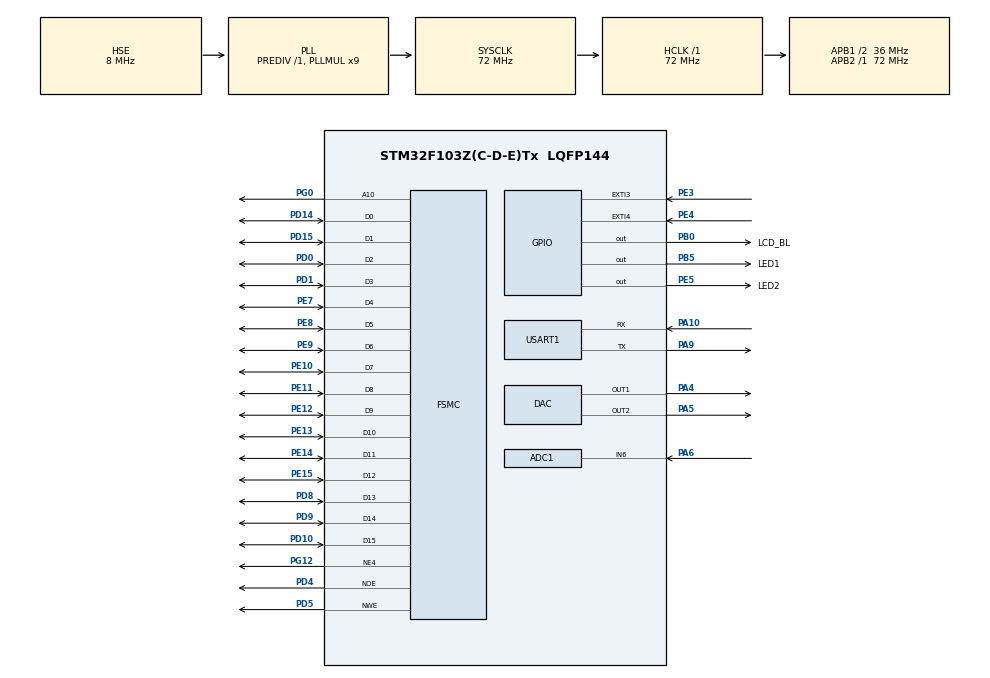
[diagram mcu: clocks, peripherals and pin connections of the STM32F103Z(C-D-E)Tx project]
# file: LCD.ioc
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ADC1.Channel-0\#ChannelRegularConversion=ADC_CHANNEL_6
ADC1.NbrOfConversion=1
ADC1.NbrOfConversionFlag=1
ADC1.Rank-0\#ChannelRegularConversion=1
ADC1.SamplingTime-0\#ChannelRegularConversion=ADC_SAMPLETIME_1CYCLE_5
ADC1.master=1
DAC.DAC_OutputBuffer=DAC_OUTPUTBUFFER_DISABLE
DAC.DAC_OutputBuffer2=DAC_OUTPUTBUFFER_DISABLE
Dma.ADC1.0.Direction=DMA_PERIPH_TO_MEMORY
Dma.ADC1.0.Instance=DMA1_Channel1
Dma.ADC1.0.MemDataAlignment=DMA_MDATAALIGN_HALFWORD
Dma.ADC1.0.MemInc=DMA_MINC_ENABLE
Dma.ADC1.0.Mode=DMA_CIRCULAR
Dma.ADC1.0.PeriphDataAlignment=DMA_PDATAALIGN_HALFWORD
Dma.ADC1.0.PeriphInc=DMA_PINC_DISABLE
Dma.ADC1.0.Priority=DMA_PRIORITY_MEDIUM
Dma.Request0=ADC1
FSMC.AddressSetupTime1=0
FSMC.BusTurnAroundDuration1=0
FSMC.DataSetupTime1=26
FSMC.ExtendedAddressSetupTime1=0
FSMC.ExtendedBusTurnAroundDuration1=0
FSMC.ExtendedDataSetupTime1=1
FSMC.ExtendedMode1=FSMC_EXTENDED_MODE_ENABLE
Mcu.Family=STM32F1
Mcu.Name=STM32F103Z(C-D-E)Tx
Mcu.Package=LQFP144
NVIC.DMA1_Channel1_IRQn=true\:0\:0\:false\:false\:true\:false\:true
NVIC.EXTI3_IRQn=true\:0\:0\:false\:false\:true\:true\:true
NVIC.EXTI4_IRQn=true\:0\:0\:false\:false\:true\:true\:true
NVIC.PriorityGroup=NVIC_PRIORITYGROUP_4
NVIC.TIM1_UP_IRQn=true\:15\:0\:false\:false\:true\:false\:true
NVIC.TimeBase=TIM1_UP_IRQn
NVIC.TimeBaseIP=TIM1
NVIC.USART1_IRQn=true\:0\:0\:false\:false\:true\:true\:true
OSC_IN.Mode=HSE-External-Oscillator
OSC_IN.Signal=RCC_OSC_IN
OSC_OUT.Mode=HSE-External-Oscillator
OSC_OUT.Signal=RCC_OSC_OUT
PA10.Mode=Asynchronous
PA10.Signal=USART1_RX
PA13.Mode=Serial_Wire
PA13.Signal=SYS_JTMS-SWDIO
PA14.Mode=Serial_Wire
PA14.Signal=SYS_JTCK-SWCLK
PA4.Signal=COMP_DAC1_group
PA5.Signal=COMP_DAC2_group
PA6.Signal=ADCx_IN6
PA9.Mode=Asynchronous
PA9.Signal=USART1_TX
PB0.GPIO_Label=LCD_BL
PB0.Signal=GPIO_Output
PB5.GPIO_Label=LED1
PB5.Signal=GPIO_Output
PD0.Signal=FSMC_D2_DA2
PD1.Signal=FSMC_D3_DA3
PD10.Signal=FSMC_D15_DA15
PD14.Signal=FSMC_D0_DA0
PD15.Signal=FSMC_D1_DA1
PD4.Signal=FSMC_NOE
PD5.Signal=FSMC_NWE
PD8.Signal=FSMC_D13_DA13
PD9.Signal=FSMC_D14_DA14
PE10.Signal=FSMC_D7_DA7
PE11.Signal=FSMC_D8_DA8
PE12.Signal=FSMC_D9_DA9
PE13.Signal=FSMC_D10_DA10
PE14.Signal=FSMC_D11_DA11
PE15.Signal=FSMC_D12_DA12
PE3.GPIO_ModeDefaultEXTI=GPIO_MODE_IT_FALLING
PE3.Signal=GPXTI3
PE4.GPIO_ModeDefaultEXTI=GPIO_MODE_IT_FALLING
PE4.Signal=GPXTI4
PE5.GPIO_Label=LED2
PE5.Signal=GPIO_Output
PE7.Signal=FSMC_D4_DA4
PE8.Signal=FSMC_D5_DA5
PE9.Signal=FSMC_D6_DA6
PG0.Signal=FSMC_A10
PG12.Mode=NorPsramChipSelect4_1
PG12.Signal=FSMC_NE4
ProjectManager.HeapSize=0x200
ProjectManager.StackSize=0x400
ProjectManager.TargetToolchain=MDK-ARM V5.32
RCC.ADCPresc=RCC_ADCPCLK2_DIV6
RCC.AHBFreq_Value=72000000
RCC.APB1CLKDivider=RCC_HCLK_DIV2
RCC.APB1Freq_Value=36000000
RCC.APB1TimFreq_Value=72000000
RCC.APB2Freq_Value=72000000
RCC.APB2TimFreq_Value=72000000
RCC.HCLKFreq_Value=72000000
RCC.PLLMUL=RCC_PLL_MUL9
RCC.PLLSourceVirtual=RCC_PLLSOURCE_HSE
RCC.SYSCLKFreq_VALUE=72000000
RCC.SYSCLKSource=RCC_SYSCLKSOURCE_PLLCLK
RCC.USBFreq_Value=72000000
SH.ADCx_IN6.0=ADC1_IN6,IN6
SH.COMP_DAC1_group.0=DAC_OUT1,DAC_OUT1
SH.COMP_DAC2_group.0=DAC_OUT2,DAC_OUT2
SH.FSMC_A10.0=FSMC_A10,A10_1
SH.FSMC_D0_DA0.0=FSMC_D0,16b-d1
SH.FSMC_D10_DA10.0=FSMC_D10,16b-d1
SH.FSMC_D11_DA11.0=FSMC_D11,16b-d1
SH.FSMC_D12_DA12.0=FSMC_D12,16b-d1
SH.FSMC_D13_DA13.0=FSMC_D13,16b-d1
SH.FSMC_D14_DA14.0=FSMC_D14,16b-d1
SH.FSMC_D15_DA15.0=FSMC_D15,16b-d1
SH.FSMC_D1_DA1.0=FSMC_D1,16b-d1
SH.FSMC_D2_DA2.0=FSMC_D2,16b-d1
SH.FSMC_D3_DA3.0=FSMC_D3,16b-d1
SH.FSMC_D4_DA4.0=FSMC_D4,16b-d1
SH.FSMC_D5_DA5.0=FSMC_D5,16b-d1
SH.FSMC_D6_DA6.0=FSMC_D6,16b-d1
SH.FSMC_D7_DA7.0=FSMC_D7,16b-d1
SH.FSMC_D8_DA8.0=FSMC_D8,16b-d1
SH.FSMC_D9_DA9.0=FSMC_D9,16b-d1
SH.FSMC_NOE.0=FSMC_NOE,Lcd1
SH.FSMC_NWE.0=FSMC_NWE,Lcd1
USART1.VirtualMode=VM_ASYNC
VP_SYS_VS_tim1.Mode=TIM1
board=custom

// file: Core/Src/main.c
/* USER CODE BEGIN Header */
/**
  ******************************************************************************
  * @file           : main.c
  * @brief          : Main program body
  ******************************************************************************
  * @attention
  *
  * Copyright (c) 2023 STMicroelectronics.
  * All rights reserved.
  *
  * This software is licensed under terms that can be found in the LICENSE file
  * in the root directory of this software component.
  * If no LICENSE file comes with this software, it is provided AS-IS.
  *
  ******************************************************************************
  */
/* USER CODE END Header */
#include "main.h"
#include "adc.h"
#include "dac.h"
#include "dma.h"
#include "usart.h"
#include "gpio.h"
#include "fsmc.h"

/* USER CODE BEGIN Includes */
#include "stm32_dsp.h"
#include "table_fft.h"
#include "math.h"
/* USER CODE END Includes */

/* USER CODE BEGIN PV */

#define NPT 1024 //采样次数
#define PI2 6.28318530717959

void lcd_huadian(uint16_t a,uint16_t b,uint16_t color);//画点函数
void lcd_huaxian(uint16_t x1,uint16_t y1,uint16_t x2,uint16_t y2);//画线函数
void window(void);//主界面
void clear_point(uint16_t mode);//更新显示屏当前列
void InitBufInArray(void);//正弦波输出缓存
void sinout(void);//正弦波输出
void GetPowerMag(void);//FFT变换，输出频率

int long fftin [NPT];//FFT输入
int long fftout[NPT];//FFT输出
uint32_t FFT_Mag[NPT/2]={0};//幅频特性
uint16_t magout[NPT];//模拟正弦波输出缓存区

uint16_t table[15] ={16,32,48,64,80,96,112,128,144,160,176,192,208,224,240};//标点横坐标
uint16_t currentadc;//实时采样数据
uint16_t adcx[NPT];//adc数值缓存
uint32_t adcmax;//采样最大值和最小值
uint32_t adcmin;
uint8_t adc_flag=0;//采样结束标志
uint8_t key_flag=0;//按键扫描标志
uint8_t  show_flag=1;//更新暂停标志
uint16_t T=2000;//定时器2重载值，不能小于PWM的Pluse值
uint16_t pre=36;//定时器2预分频值
uint32_t fre;//采样频率 kHz
uint16_t F;//波形频率

uint16_t V=660;//纵坐标单位刻度 mv/div
uint16_t temp=0;//幅值最大的频率成分
uint16_t t=0;
uint16_t key;//按键值

/* USER CODE END PV */

void SystemClock_Config(void);

/* USER CODE BEGIN 0 */

/**********************************************************
简介：画点函数，反转Y坐标
***********************************************************/
void lcd_huadian(uint16_t a,uint16_t b,uint16_t color)
{
	LCD_Fast_DrawPoint(a,240-b,color);
}

/**********************************************************
简介：画线函数，反转Y坐标
***********************************************************/
void lcd_huaxian(uint16_t x1,uint16_t y1,uint16_t x2,uint16_t y2)
{
	LCD_DrawLine(x1,240-y1,x2,240-y2);
}
/**********************************************************
简介：主界面绘制
***********************************************************/
void window(void)
{
	uint16_t x,i;
	static uint16_t h;

	POINT_COLOR=GREEN;
	LCD_ShowString(5,8,200,24,24,"OSC-DWY");

	POINT_COLOR=GRAY;
	LCD_ShowString(190,13,200,16,16,"mV/div");
	LCD_ShowString(260,5,200,16,16,"max(mv):");
	LCD_ShowString(260,45,200,16,16,"min(mv):");
	LCD_ShowString(260,85,200,16,16,"vpp(mv):");
	LCD_ShowString(260,165,200,16,16,"f(Hz):");
	LCD_ShowString(260,200,200,16,16,"OSR:");  //采样率
	LCD_ShowString(304,220,200,16,16,"Hz");

	POINT_COLOR=BRRED;
	LCD_ShowString(100,13,200,16,16,"IN:PA6");

	POINT_COLOR=BLUE;
	LCD_ShowNum(150,13,V,4,16);//mv/div

	POINT_COLOR=WHITE;
	lcd_huaxian(0,0,0,200);
	lcd_huaxian(256,0,256,200);
	lcd_huaxian(0,0,256,0);
	lcd_huaxian(0,200,256,200);

	for(x=0;x<256;x++)
	{
		lcd_huadian(x,100,WHITE);
		if(x == table[h])
		{
			lcd_huaxian(x,1,x,3);
			lcd_huaxian(x,101,x,103);
			lcd_huaxian(x,199,x,197);
			h++;
			if(h>=16) h=0;
		}
		if(x==128)
		{
			lcd_huaxian(x,1,x,199);
			for(i=10;i<200;i+=10)
			{
				lcd_huaxian(125,i,127,i);
			}
		}
	}

	POINT_COLOR=MAGENTA;
	LCD_ShowString(260,128,200,16,16,"ing...");
}

/******************************************************************
函数名称:clear_point()
函数功能:循环更新波形
参数说明:mode 波形模式选择 1——连线模式，0——打点模式
备    注:波形的显示可采用打点方式和绘制线方式
*******************************************************************/
void clear_point(uint16_t mode)
{
	uint16_t x,i,past_vol,pre_vol;
	static uint16_t h;

	POINT_COLOR=BLUE;
	fre=72000000/T/pre;//更新采样频率
	LCD_ShowNum(261,220,fre,5,16);//更新采样率显示

	for(x=0;x<256;x++)
	{
		POINT_COLOR=BLACK;	//按列清除
		if(x!=128)	//y轴不进行列清除
			lcd_huaxian(x,4,x,196);

		//绘制坐标
		POINT_COLOR=WHITE;
		lcd_huaxian(0,0,0,200);
		lcd_huadian(x,100,WHITE);
		if(x == table[h])
		{
			lcd_huaxian(x,101,x,103);
			h++;
			if(h>=15) h=0;
		}
		if(x==128)
		{
			lcd_huaxian(x,1,x,199);
			for(i=10;i<200;i+=10)
			{
				lcd_huaxian(125,i,127,i);
			}
		}

		pre_vol = 50+adcx[x]/4096.0*100;

		//波形更新
		if(mode==1)
		{
			POINT_COLOR=YELLOW;
			if(x>0&&x<255&&x!=128)	//去除第一个，最后一个以及y轴上点的绘制
				lcd_huaxian(x,past_vol,x+1,pre_vol);
		}
		else
			lcd_huadian(x,pre_vol,YELLOW);

		past_vol = pre_vol;
	}

}
/******************************************************************
函数名称:GetPowerMag()
函数功能:计算各次谐波幅值
参数说明:
备　　注:先将lBufOutArray分解成实部(X)和虚部(Y)，然后计算幅值(sqrt(X*X+Y*Y)
*******************************************************************/
void GetPowerMag(void)
{
    float X,Y,Mag,magmax;//实部，虚部，各频率幅值，最大幅值
    u16 i;

	//调用自cr4_fft_1024_stm32
	cr4_fft_1024_stm32(fftout, fftin, NPT);

    for(i=1; i<NPT/2; i++)
    {
		X = (fftout[i] << 16) >> 16;	//低16位存实部
		Y = (fftout[i] >> 16);			//高16位存虚部

		Mag = sqrt(X * X + Y * Y); 		//计算模值
		FFT_Mag[i]=Mag;					//存入缓存，用于输出查验
		//获取最大频率分量及其幅值
		if(Mag > magmax)
		{
			magmax = Mag;
			temp = i;
		}
    }
	F=(u16)(temp*(fre*1.0/NPT));	//FFT所得实际频率f=点数i*(采样频率F/总采样点数N)
//	if(T==1000)		F=(u32)((double)temp/NPT*1000  );
//	if(T==100)		F=(u32)((double)temp/NPT*10010 );
//	if(T==10)		F=(u32)((double)temp/NPT*100200);
//	if(T==2)		F=(u32)((double)temp/NPT*249760);

	LCD_ShowNum(260,180,F,5,16);
//		LCD_ShowNum(280,200,temp,4,16);
//		LCD_ShowNum(280,220,(u32)(magmax*2.95),5,16);
}
void HAL_ADC_ConvCpltCallback(ADC_HandleTypeDef* hadc)
{
	adc_flag=1;
	HAL_ADC_Stop_DMA(&hadc1);

}

/* USER CODE END 0 */

int main(void)
{
  /* USER CODE BEGIN 1 */
	uint16_t i;
  /* USER CODE END 1 */

  /* MCU Configuration--------------------------------------------------------*/

  /* Reset of all peripherals, Initializes the Flash interface and the Systick. */
  HAL_Init();

  /* Configure the system clock */
  SystemClock_Config();

  /* Initialize all configured peripherals */
  MX_GPIO_Init();
  MX_FSMC_Init();
  MX_DMA_Init();
  MX_ADC1_Init();
  MX_USART1_UART_Init();
  MX_DAC_Init();
  /* USER CODE BEGIN 2 */
  /* Configure the system clock */
  /* USER CODE END 2 */
	TFTLCD_Init();
	HAL_ADC_Start_DMA(&hadc1,(uint32_t*)adcx,1024);
	HAL_Delay(100);
	LCD_Clear(BLACK);
	window();
  /* Infinite loop */
  while (1)
  {
		while(!adc_flag)
		{
			HAL_GPIO_TogglePin(LED1_GPIO_Port,LED1_Pin);
			HAL_Delay(500);
		}
		adc_flag=0;

		//获取最大最小值
		adcmax=adcx[1];
		adcmin=adcx[1];
		for(i=0;i<NPT;i++)
		{
			fftin[i] = 0;
			fftin[i] = adcx[i] << 16;

			if(adcx[i] >= adcmax)
			{
				adcmax = adcx[i];
			}
			if(adcx[i] <= adcmin)
			{
				adcmin = adcx[i];
			}
		}
		POINT_COLOR=BLUE;
		GetPowerMag();

		adcmax=adcmax*0.8;   //0.8 ≈ 3300/4096
		adcmin=adcmin*0.8;

		LCD_ShowNum(270,25,adcmax,4,16);	//显示最大值
		LCD_ShowNum(270,65,adcmin,4,16);	//显示最小值
		LCD_ShowNum(270,105,adcmax-adcmin,4,16);	//显示幅值

		clear_point(1);    //更新显示屏当前列，采用连线绘制

		HAL_Delay(100);
		HAL_ADC_Start_DMA(&hadc1,(uint32_t*)adcx,1024);
  }
}

void SystemClock_Config(void)
{
  RCC_OscInitTypeDef RCC_OscInitStruct = {0};
  RCC_ClkInitTypeDef RCC_ClkInitStruct = {0};
  RCC_PeriphCLKInitTypeDef PeriphClkInit = {0};

  /** Initializes the RCC Oscillators according to the specified parameters
  * in the RCC_OscInitTypeDef structure.
  */
  RCC_OscInitStruct.OscillatorType = RCC_OSCILLATORTYPE_HSE;
  RCC_OscInitStruct.HSEState = RCC_HSE_ON;
  RCC_OscInitStruct.HSEPredivValue = RCC_HSE_PREDIV_DIV1;
  RCC_OscInitStruct.HSIState = RCC_HSI_ON;
  RCC_OscInitStruct.PLL.PLLState = RCC_PLL_ON;
  RCC_OscInitStruct.PLL.PLLSource = RCC_PLLSOURCE_HSE;
  RCC_OscInitStruct.PLL.PLLMUL = RCC_PLL_MUL9;
  if (HAL_RCC_OscConfig(&RCC_OscInitStruct) != HAL_OK)
  {
    Error_Handler();
  }
  /** Initializes the CPU, AHB and APB buses clocks
  */
  RCC_ClkInitStruct.ClockType = RCC_CLOCKTYPE_HCLK|RCC_CLOCKTYPE_SYSCLK
                              |RCC_CLOCKTYPE_PCLK1|RCC_CLOCKTYPE_PCLK2;
  RCC_ClkInitStruct.SYSCLKSource = RCC_SYSCLKSOURCE_PLLCLK;
  RCC_ClkInitStruct.AHBCLKDivider = RCC_SYSCLK_DIV1;
  RCC_ClkInitStruct.APB1CLKDivider = RCC_HCLK_DIV2;
  RCC_ClkInitStruct.APB2CLKDivider = RCC_HCLK_DIV1;

  if (HAL_RCC_ClockConfig(&RCC_ClkInitStruct, FLASH_LATENCY_2) != HAL_OK)
  {
    Error_Handler();
  }
  PeriphClkInit.PeriphClockSelection = RCC_PERIPHCLK_ADC;
  PeriphClkInit.AdcClockSelection = RCC_ADCPCLK2_DIV6;
  if (HAL_RCCEx_PeriphCLKConfig(&PeriphClkInit) != HAL_OK)
  {
    Error_Handler();
  }
}

void HAL_TIM_PeriodElapsedCallback(TIM_HandleTypeDef *htim)
{
  if (htim->Instance == TIM1) {
    HAL_IncTick();
  }
}

void Error_Handler(void)
{
  __disable_irq();
  while (1)
  {
  }
}
